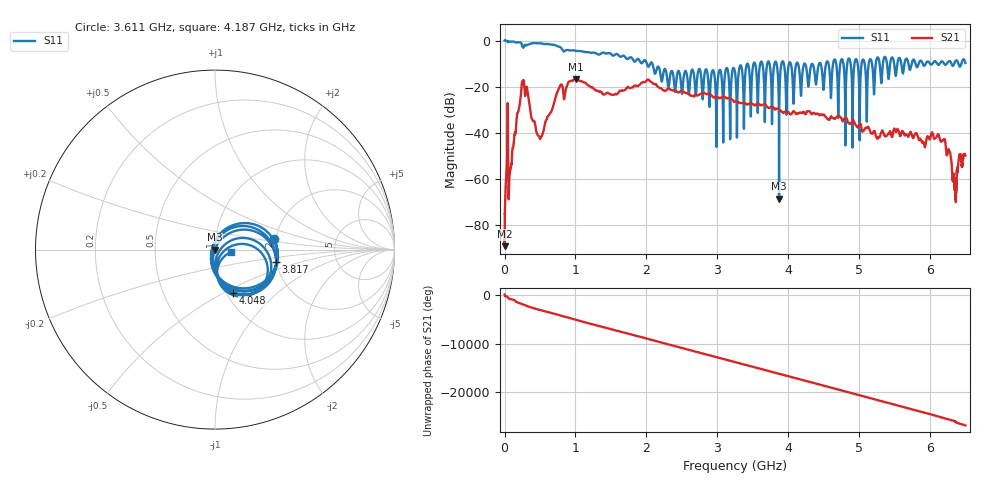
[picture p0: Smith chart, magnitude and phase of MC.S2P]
!Keysight Technologies,E5063A,MY54503115,A.05.08
!Date: Mon Mar 04 19:47:39 2024
!Data & Calibration Information:
!Freq	S11:NONE(--)	S21:NONE(--)	S12:NONE(--)	S22:NONE(--)
# Hz S dB R 50
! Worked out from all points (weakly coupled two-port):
!   10001 points, 100 kHz to 6.5 GHz, reference 50 ohm
!   highest |S21| = -16.74 dB at 1.001 GHz (marker M1); lowest = -89.0 dB at 1.4 MHz (marker M2)
!   lowest |S11| = -68.5 dB at 3.871 GHz (marker M3), VSWR 1.00, Z = 50 - j0.00694 ohm
!   |S11| at or under -10 dB: 2.085 GHz to 3.424 GHz (1.34 GHz wide, 48.6 % of centre); 4.139 GHz to 4.228 GHz (88.79 MHz wide, 2.12 % of centre); 4.237 GHz to 4.436 GHz (199.6 MHz wide, 4.6 % of centre) (the widest 3 of 31)
!   S12 and S22 are empty: the file has one direction only
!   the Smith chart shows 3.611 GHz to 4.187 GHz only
!   S11 on the Smith chart (normalised r, x): 3.611 GHz: 1.96, +0.26; 3.817 GHz: 2.00, -0.32; 4.048 GHz: 1.07, -0.56; 4.187 GHz: 1.19, -0.04
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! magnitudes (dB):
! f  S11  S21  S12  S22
! 100 kHz  0.0  -82.9  -  -
! 1.4 MHz  0.0  -89.0  -  -
! 39.1 MHz  -0.2  -44.9  -  -
! 85.25 MHz  -0.5  -55.4  -  -
! 252.3 MHz  -2.7  -18.2  -  -
! 499.9 MHz  -1.2  -42.6  -  -
! 774.9 MHz  -2.8  -20.0  -  -
! 1.001 GHz  -4.5  -16.7  -  -
! 1.084 GHz  -4.6  -17.6  -  -
! 2.167 GHz  -11.2  -20.1  -  -
! 3.25 GHz  -13.6  -26.4  -  -
! 3.611 GHz  -9.5  -27.9  -  -
! 3.817 GHz  -9.2  -29.8  -  -
! 3.871 GHz  -68.5  -30.0  -  -
! 3.921 GHz  -9.0  -31.0  -  -
! 4.048 GHz  -11.6  -31.7  -  -
! 4.187 GHz  -21.1  -31.3  -  -
! 4.334 GHz  -10.1  -31.8  -  -
! 5.417 GHz  -16.6  -40.4  -  -
! 6.189 GHz  -9.5  -43.1  -  -
! 6.345 GHz  -9.8  -62.6  -  -
! 6.5 GHz  -9.7  -49.8  -  -
